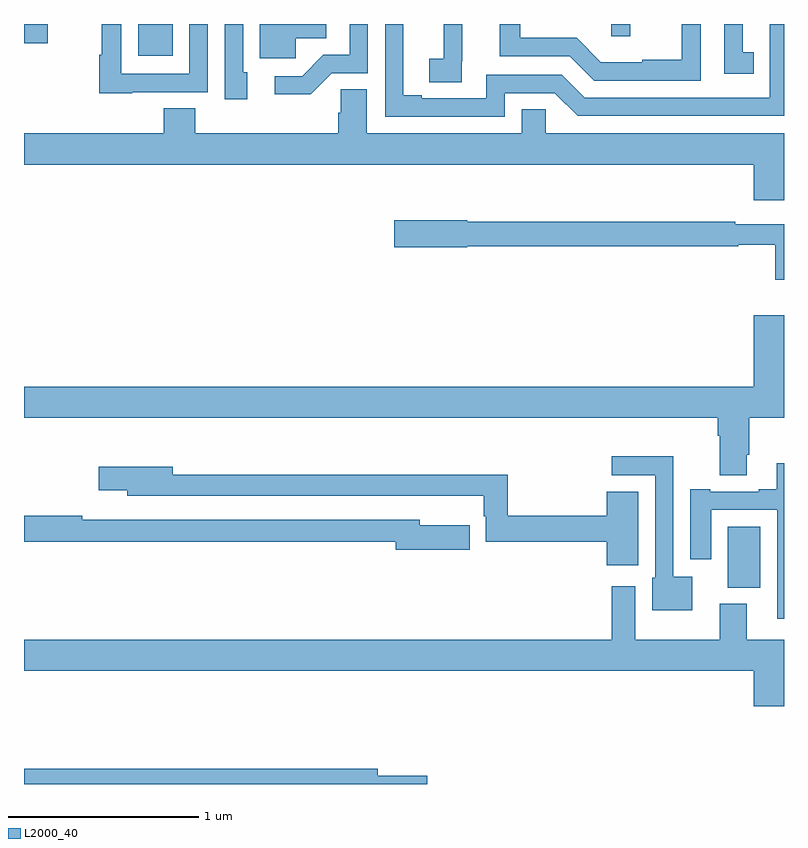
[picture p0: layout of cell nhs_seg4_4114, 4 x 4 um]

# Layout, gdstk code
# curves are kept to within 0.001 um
import gdstk
lib = gdstk.Library(unit=1e-6, precision=1e-09)
def R(c, l, rs):  # rectangles x0, y0, x1, y1
    for r in rs: c.add(gdstk.rectangle(r[:2], r[2:], *l))
def P(c, l, *ps):  # polygons
    for p in ps: c.add(gdstk.Polygon(p, *l))
L2000_40 = (2000, 40)

nhs_seg4_4114 = lib.new_cell('nhs_seg4_4114')
R(nhs_seg4_4114, L2000_40, [(332.705,787.934,332.875,788.254), (329.6,790.733,329.782,790.9), (329,790.798,329.125,790.9), (332.091,790.836,332.192,790.9)])
P(nhs_seg4_4114, L2000_40, [(332.562,790.9),(332.461,790.9),(332.461,790.711),(332.255,790.711),(332.255,790.699),(332.036,790.699),(331.908,790.827),(331.612,790.827),(331.612,790.9),(331.505,790.9),(331.505,790.731),(331.872,790.731),(332.001,790.602),(332.562,790.602)],
  [(330.429,790.826),(330.592,790.826),(330.592,790.9),(330.242,790.9),(330.242,790.719),(330.429,790.719)],
  [(332.84,790.751),(332.782,790.751),(332.782,790.9),(332.685,790.9),(332.685,790.638),(332.84,790.638)],
  [(331.304,790.705),(331.306,790.705),(331.306,790.9),(331.208,790.9),(331.208,790.716),(331.134,790.716),(331.134,790.594),(331.304,790.594)],
  [(330.621,790.641),(330.81,790.641),(330.81,790.9),(330.714,790.9),(330.714,790.737),(330.576,790.737),(330.465,790.626),(330.321,790.626),(330.321,790.529),(330.508,790.529)],
  [(329.571,790.542),(329.967,790.542),(329.967,790.9),(329.871,790.9),(329.871,790.638),(329.511,790.638),(329.511,790.9),(329.41,790.9),(329.41,790.739),(329.395,790.739),(329.395,790.535),(329.571,790.535)],
  [(331.53,790.536),(331.794,790.536),(331.914,790.416),(333,790.416),(333,790.9),(332.924,790.9),(332.925,790.512),(331.95,790.512),(331.83,790.632),(331.434,790.632),(331.434,790.509),(331.093,790.509),(331.093,790.524),(330.997,790.524),(330.997,790.9),(330.9,790.9),(330.9,790.413),(331.53,790.413)],
  [(330.175,790.647),(330.153,790.647),(330.153,790.9),(330.057,790.9),(330.057,790.503),(330.175,790.503)],
  [(333,790.324),(331.746,790.324),(331.746,790.451),(331.619,790.451),(331.619,790.324),(330.805,790.324),(330.805,790.556),(330.666,790.556),(330.666,790.433),(330.653,790.433),(330.653,790.324),(329.9,790.324),(329.9,790.457),(329.735,790.457),(329.735,790.324),(329,790.324),(329,790.16),(332.84,790.16),(332.84,789.972),(333,789.972)],
  [(333,789.846),(332.744,789.846),(332.744,789.859),(331.332,789.859),(331.332,789.867),(330.948,789.867),(330.948,789.725),(331.332,789.725),(331.332,789.73),(332.758,789.73),(332.758,789.738),(332.954,789.738),(332.954,789.554),(333,789.554)],
  [(332.803,788.632),(332.816,788.632),(332.816,788.828),(333,788.828),(333,789.367),(332.84,789.367),(332.84,788.992),(329,788.992),(329,788.828),(332.651,788.828),(332.651,788.732),(332.663,788.732),(332.663,788.524),(332.803,788.524)],
  [(332.518,787.99),(332.418,787.99),(332.418,788.624),(332.094,788.624),(332.094,788.526),(332.322,788.526),(332.322,787.986),(332.306,787.986),(332.306,787.814),(332.518,787.814)],
  [(333,788.587),(332.963,788.587),(332.963,788.452),(332.867,788.452),(332.867,788.439),(332.611,788.439),(332.611,788.452),(332.507,788.452),(332.507,788.082),(332.617,788.082),(332.617,788.343),(332.964,788.343),(332.964,787.77),(333,787.77)],
  [(332.233,788.437),(332.066,788.437),(332.066,788.312),(331.547,788.312),(331.547,788.527),(329.782,788.527),(329.782,788.569),(329.394,788.569),(329.394,788.447),(329.543,788.447),(329.543,788.418),(331.18,788.418),(331.18,788.417),(331.419,788.417),(331.419,788.31),(331.431,788.31),(331.431,788.176),(332.066,788.176),(332.066,788.051),(332.233,788.051)],
  [(331.345,788.263),(331.084,788.263),(331.084,788.292),(329.306,788.292),(329.306,788.312),(329,788.312),(329,788.176),(330.956,788.176),(330.956,788.134),(331.345,788.134)],
  [(333,787.66),(332.803,787.66),(332.803,787.849),(332.663,787.849),(332.663,787.66),(332.218,787.66),(332.218,787.942),(332.093,787.942),(332.093,787.66),(329,787.66),(329,787.496),(332.84,787.496),(332.84,787.308),(333,787.308)],
  [(331.123,786.944),(330.862,786.944),(330.862,786.98),(329,786.98),(329,786.9),(331.123,786.9)])

lib.write_gds('nhs_seg4_4114.gds')
